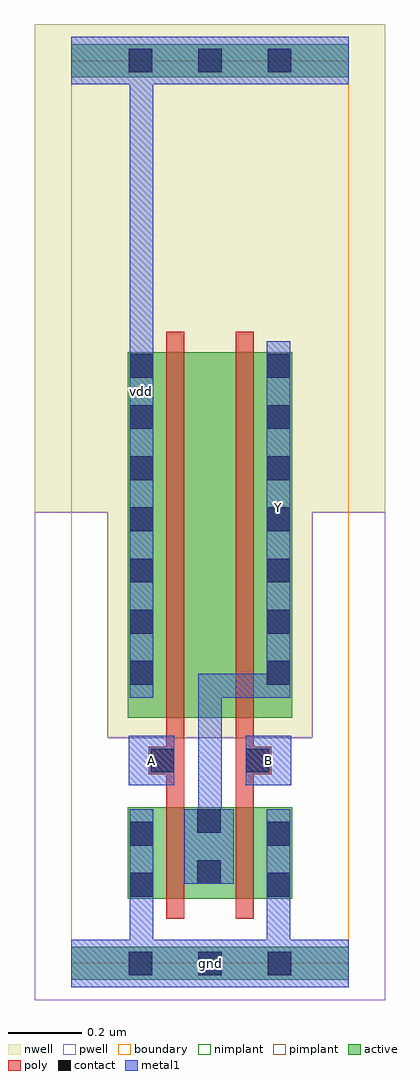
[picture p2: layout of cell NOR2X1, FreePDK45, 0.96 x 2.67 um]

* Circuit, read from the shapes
.subckt NOR2X1 A B Y gnd vdd
M1 Y A gnd gnd nfet w=0.25u l=0.05u
M2 gnd B Y gnd nfet w=0.25u l=0.05u
M3 n1 A vdd vdd pfet w=1u l=0.05u
M4 Y B n1 vdd pfet w=1u l=0.05u
.ends

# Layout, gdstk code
import gdstk
lib = gdstk.Library(unit=1e-6, precision=5e-10)
def R(c, l, rs):  # rectangles x0, y0, x1, y1
    for r in rs: c.add(gdstk.rectangle(r[:2], r[2:], *l))
def A(c, l, x, y, w, h, nx, ny, dx, dy):  # array of equal rectangles
    R(c, l, [(x+i*dx, y+j*dy, x+i*dx+w, y+j*dy+h) for i in range(nx) for j in range(ny)])
def P(c, l, *ps):  # polygons
    for p in ps: c.add(gdstk.Polygon(p, *l))
active = (1, 0)
pwell = (2, 0)
nwell = (3, 0)
nimplant = (4, 0)
pimplant = (5, 0)
poly = (9, 0)
contact = (10, 0)
metal1 = (11, 0)
boundary = (235, 0)

nor2x1 = lib.new_cell('NOR2X1')
R(nor2x1, active, [(0,-0.045,0.76,0.045), (0.155,0.1775,0.26,0.4275), (0.26,0.1775,0.31,0.4275), (0.31,0.1775,0.45,0.4275), (0.45,0.1775,0.5,0.4275), (0.5,0.1775,0.605,0.4275), (0.155,0.6725,0.26,1.6725), (0.26,0.6725,0.31,1.6725), (0.31,0.6725,0.45,1.6725), (0.45,0.6725,0.5,1.6725), (0.5,0.6725,0.605,1.6725), (0,2.425,0.76,2.515)])
P(nor2x1, pwell, [(-0.1,1.235),(0.1,1.235),(0.1,0.6175),(0.66,0.6175),(0.66,1.235),(0.86,1.235),(0.86,-0.1),(-0.1,-0.1)])
P(nor2x1, nwell, [(0.86,1.235),(0.66,1.235),(0.66,0.6175),(0.1,0.6175),(0.1,1.235),(-0.1,1.235),(-0.1,2.57),(0.86,2.57)])
R(nor2x1, nimplant, [(0.155,0.1775,0.26,0.4275), (0.26,0.1775,0.31,0.4275), (0.31,0.1775,0.45,0.4275), (0.45,0.1775,0.5,0.4275), (0.5,0.1775,0.605,0.4275), (0,2.425,0.76,2.515)])
R(nor2x1, pimplant, [(0,-0.045,0.76,0.045), (0.155,0.6725,0.26,1.6725), (0.26,0.6725,0.31,1.6725), (0.31,0.6725,0.45,1.6725), (0.45,0.6725,0.5,1.6725), (0.5,0.6725,0.605,1.6725)])
R(nor2x1, poly, [(0.26,0.1225,0.31,0.1775), (0.45,0.1225,0.5,0.1775), (0.26,0.1775,0.31,0.4275), (0.45,0.1775,0.5,0.4275), (0.26,0.6725,0.31,1.6725), (0.45,0.6725,0.5,1.6725), (0.26,1.6725,0.31,1.7275), (0.45,1.6725,0.5,1.7275)])
P(nor2x1, poly, [(0.45,0.6725),(0.5,0.6725),(0.5,0.5925),(0.5475,0.5925),(0.5475,0.5175),(0.5,0.5175),(0.5,0.4275),(0.45,0.4275)],
  [(0.26,0.5175),(0.2125,0.5175),(0.2125,0.5925),(0.26,0.5925),(0.26,0.6725),(0.31,0.6725),(0.31,0.4275),(0.26,0.4275)])
A(nor2x1, contact, 0.1575, -0.0325, 0.065, 0.065, 3, 2, 0.19, 2.47)
A(nor2x1, contact, 0.16, 0.7625, 0.065, 0.065, 1, 7, 0, 0.14)
A(nor2x1, contact, 0.535, 0.7625, 0.065, 0.065, 1, 7, 0, 0.14)
R(nor2x1, contact, [(0.16,0.1825,0.225,0.2475), (0.535,0.1825,0.6,0.2475), (0.345,0.2175,0.41,0.2825), (0.16,0.3225,0.225,0.3875), (0.535,0.3225,0.6,0.3875), (0.345,0.3575,0.41,0.4225), (0.2175,0.5225,0.2825,0.5875), (0.4775,0.5225,0.5425,0.5875)])
R(nor2x1, metal1, [(0.1575,0.4875,0.2825,0.6225), (0.4775,0.4875,0.6025,0.6225)])
P(nor2x1, metal1, [(0.3475,0.7925),(0.535,0.7925),(0.535,1.7025),(0.6,1.7025),(0.6,0.7275),(0.4125,0.7275),(0.4125,0.4225),(0.445,0.4225),(0.445,0.2175),(0.31,0.2175),(0.31,0.4225),(0.3475,0.4225)],
  [(0,-0.065),(0,0.065),(0.16,0.065),(0.16,0.4225),(0.225,0.4225),(0.225,0.065),(0.535,0.065),(0.535,0.4225),(0.6,0.4225),(0.6,0.065),(0.76,0.065),(0.76,-0.065)],
  [(0,2.405),(0,2.535),(0.76,2.535),(0.76,2.405),(0.225,2.405),(0.225,0.7275),(0.16,0.7275),(0.16,2.405)])
R(nor2x1, boundary, [(0,0,0.76,2.47)])
nor2x1.add(gdstk.Label('Y', (0.5675,1.2475), layer=11, texttype=237))
nor2x1.add(gdstk.Label('B', (0.54,0.555), layer=11, texttype=237))
nor2x1.add(gdstk.Label('A', (0.22,0.555), layer=11, texttype=237))
nor2x1.add(gdstk.Label('gnd', (0.38,0), layer=11, texttype=237))
nor2x1.add(gdstk.Label('vdd', (0.1925,1.565), layer=11, texttype=237))

lib.write_gds('NOR2X1.gds')
